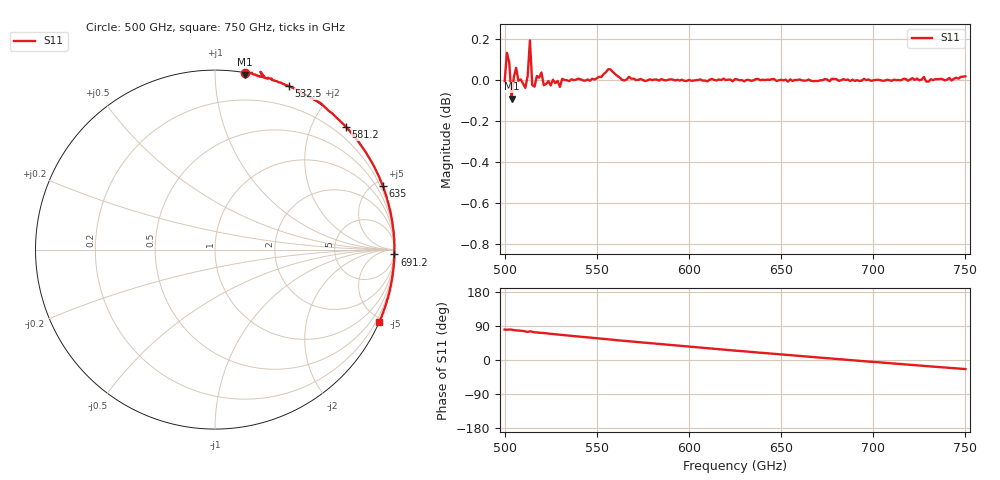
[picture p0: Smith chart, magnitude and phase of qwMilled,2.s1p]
!Created with mwavepy.
# GHz S RI R 50.0
!freq	ReS11	ImS11
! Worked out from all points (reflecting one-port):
!   201 points, 500 GHz to 750 GHz, reference 50 ohm
!   lowest |S11| = -0.1 dB at 503.8 GHz (marker M1), VSWR 189.03, Z = 0.637 + j59.3 ohm
!   phase of S11 starts at 80 deg and turns -104 deg over the sweep
!   S11 on the Smith chart (normalised r, x): 500 GHz: 0.00, +1.19; 532.5 GHz: 0.00, +1.55; 581.2 GHz: -0.00, +2.53; 635 GHz: 0.01, +5.46; 691.2 GHz: 1, -74; 750 GHz: -0.02, -4.72
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500  0.1684 0.9842
! Port Impedance 50.00000000000000 0.00000000000000
501.25  0.1763 0.9997
502.5  0.1682 0.9958
503.75  0.1675 0.9752
505  0.1947 0.9822
510  0.2301 0.9708
512.5  0.2746 0.9637
513.75  0.2532 0.9903
515  0.2677 0.9604
516.25  0.2934 0.9519
517.5  0.295 0.9577
518.75  0.3095 0.9521
521.25  0.3167 0.9453
523.75  0.3464 0.9372
531.25  0.4052 0.9148
532.5  0.4113 0.9113
556.25  0.5822 0.8203
562.5  0.6231 0.7837
581.25  0.7292 0.6843
593.75  0.7895 0.6137
612.5  0.8677 0.498
625  0.9077 0.4204
635  0.9348 0.354
656.25  0.9772 0.2088
687.5  0.9992 -0.00195
691.25  0.9994 -0.027
718.75  0.9767 -0.2121
750  0.9159 -0.4059
